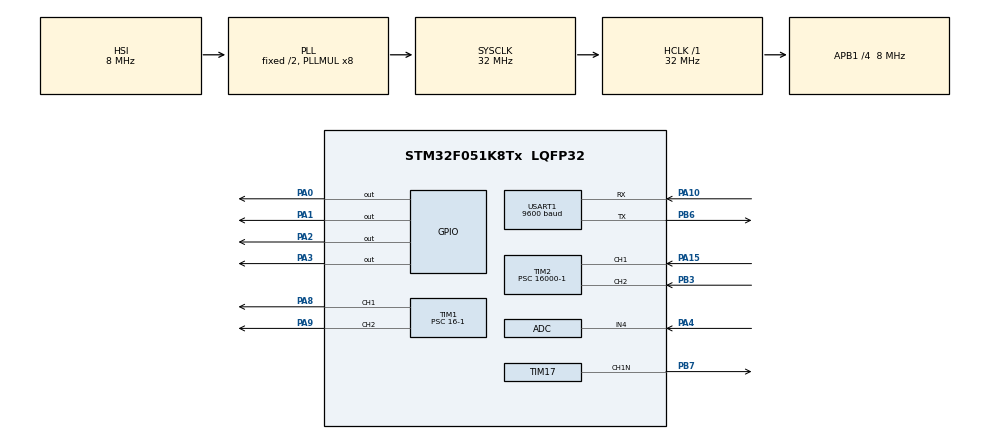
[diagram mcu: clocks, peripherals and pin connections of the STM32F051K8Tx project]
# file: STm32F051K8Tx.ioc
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ADC.ClockPrescaler=ADC_CLOCK_ASYNC_DIV1
Dma.Request0=USART1_RX
Dma.USART1_RX.0.Direction=DMA_PERIPH_TO_MEMORY
Dma.USART1_RX.0.Instance=DMA1_Channel3
Dma.USART1_RX.0.MemDataAlignment=DMA_MDATAALIGN_BYTE
Dma.USART1_RX.0.MemInc=DMA_MINC_ENABLE
Dma.USART1_RX.0.Mode=DMA_NORMAL
Dma.USART1_RX.0.PeriphDataAlignment=DMA_PDATAALIGN_BYTE
Dma.USART1_RX.0.PeriphInc=DMA_PINC_DISABLE
Dma.USART1_RX.0.Priority=DMA_PRIORITY_MEDIUM
Mcu.Family=STM32F0
Mcu.Name=STM32F051K8Tx
Mcu.Package=LQFP32
NVIC.DMA1_Channel2_3_IRQn=true\:0\:0\:false\:false\:true\:false\:true\:true
NVIC.TIM15_IRQn=true\:0\:0\:false\:false\:true\:true\:true\:true
NVIC.TIM16_IRQn=true\:0\:0\:false\:false\:true\:true\:true\:true
NVIC.TIM2_IRQn=true\:0\:0\:false\:false\:true\:true\:true\:true
PA0.Signal=GPIO_Output
PA1.Signal=GPIO_Output
PA10.Mode=Asynchronous
PA10.Signal=USART1_RX
PA15.Signal=S_TIM2_CH1_ETR
PA2.Signal=GPIO_Output
PA3.Signal=GPIO_Output
PA4.Mode=IN4
PA4.Signal=ADC_IN4
PA8.Signal=S_TIM1_CH1
PA9.Signal=S_TIM1_CH2
PB3.Signal=S_TIM2_CH2
PB6.Mode=Asynchronous
PB6.Signal=USART1_TX
PB7.Mode=PWM Generation1 CH1N
PB7.Signal=TIM17_CH1N
ProjectManager.HeapSize=0x200
ProjectManager.StackSize=0x400
ProjectManager.TargetToolchain=STM32CubeIDE
RCC.AHBFreq_Value=32000000
RCC.APB1CLKDivider=RCC_HCLK_DIV4
RCC.APB1Freq_Value=8000000
RCC.APB1TimFreq_Value=16000000
RCC.HCLKFreq_Value=32000000
RCC.PLLMUL=RCC_PLL_MUL8
RCC.SYSCLKFreq_VALUE=32000000
RCC.SYSCLKSource=RCC_SYSCLKSOURCE_PLLCLK
SH.S_TIM1_CH1.0=TIM1_CH1,PWM Generation1 CH1
SH.S_TIM1_CH2.0=TIM1_CH2,PWM Generation2 CH2
SH.S_TIM2_CH1_ETR.0=TIM2_CH1,Input_Capture1_from_TI1
SH.S_TIM2_CH2.0=TIM2_CH2,Input_Capture2_from_TI2
TIM1.AutoReloadPreload=TIM_AUTORELOAD_PRELOAD_DISABLE
TIM1.Channel-PWM\ Generation1\ CH1=TIM_CHANNEL_1
TIM1.Channel-PWM\ Generation2\ CH2=TIM_CHANNEL_2
TIM1.Period=20000-1
TIM1.Prescaler=16-1
TIM1.Pulse-PWM\ Generation1\ CH1=4000-1
TIM1.Pulse-PWM\ Generation2\ CH2=4000-1
TIM15.Period=200
TIM15.Prescaler=16000-1
TIM16.Period=3000
TIM16.Prescaler=16000-1
TIM17.Channel=TIM_CHANNEL_1
TIM17.Period=300
TIM17.Prescaler=16000-1
TIM17.Pulse=150
TIM2.Channel-Input_Capture1_from_TI1=TIM_CHANNEL_1
TIM2.Channel-Input_Capture2_from_TI2=TIM_CHANNEL_2
TIM2.Period=0xFFFFFFFF
TIM2.Prescaler=16000-1
USART1.BaudRate=9600
USART1.Mode=MODE_RX
USART1.OverSampling=UART_OVERSAMPLING_8
USART1.VirtualMode-Asynchronous=VM_ASYNC
VP_TIM15_VS_ClockSourceINT.Mode=Internal
VP_TIM16_VS_ClockSourceINT.Mode=Enable_Timer
VP_TIM17_VS_ClockSourceINT.Mode=Enable_Timer
VP_TIM1_VS_ClockSourceINT.Mode=Internal
VP_TIM2_VS_ClockSourceINT.Mode=Internal
board=custom

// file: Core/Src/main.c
/* USER CODE BEGIN Header */
/**
  ******************************************************************************
  * @file           : main.c
  * @brief          : Main program body
  ******************************************************************************
  * @attention
  *
  * Copyright (c) 2023 STMicroelectronics.
  * All rights reserved.
  *
  * This software is licensed under terms that can be found in the LICENSE file
  * in the root directory of this software component.
  * If no LICENSE file comes with this software, it is provided AS-IS.
  *
  ******************************************************************************
  */
/* USER CODE END Header */
#include "main.h"

/* USER CODE BEGIN Includes */
#include "user_functions.h"
/* USER CODE END Includes */

ADC_HandleTypeDef hadc;

TIM_HandleTypeDef htim1;
TIM_HandleTypeDef htim2;
TIM_HandleTypeDef htim15;
TIM_HandleTypeDef htim16;
TIM_HandleTypeDef htim17;

UART_HandleTypeDef huart1;
DMA_HandleTypeDef hdma_usart1_rx;

/* USER CODE BEGIN PV */
uint32_t BAT = 0;

Wheel wheel_1 = {0,0,0};
Wheel wheel_2 = {0,0,0};

uint8_t cmd[3] = {'0','0','0'};

uint8_t FLAG_UART_1 = 0x00;
uint8_t FLAG_TIMEOUT = 0x00;
uint8_t FLAG_BAT = 0x00;
uint8_t FLAG_MEAS_1 = 0x00;
uint8_t FLAG_MEAS_2 = 0x00;

uint8_t MOTOR = 0x00;
uint8_t STATUS = 0x00;
float base = 140.5f;
/* USER CODE END PV */

void SystemClock_Config(void);
static void MX_GPIO_Init(void);
static void MX_DMA_Init(void);
static void MX_TIM1_Init(void);
static void MX_TIM2_Init(void);
static void MX_TIM16_Init(void);
static void MX_TIM15_Init(void);
static void MX_USART1_UART_Init(void);
static void MX_ADC_Init(void);
static void MX_TIM17_Init(void);
/* USER CODE BEGIN PFP */

static uint32_t Status_Check();

/* USER CODE END PFP */

int main(void)
{

  /* MCU Configuration--------------------------------------------------------*/

  /* Reset of all peripherals, Initializes the Flash interface and the Systick. */
  HAL_Init();

  /* Configure the system clock */
  SystemClock_Config();

  /* Initialize all configured peripherals */
  MX_GPIO_Init();
  MX_DMA_Init();
  MX_TIM1_Init();
  MX_TIM2_Init();
  MX_TIM16_Init();
  MX_TIM15_Init();
  MX_USART1_UART_Init();
  MX_ADC_Init();
  MX_TIM17_Init();
  /* USER CODE BEGIN 2 */

  //Intro
  //HAL_Delay(2000);

  // Motor control PWM start
  HAL_TIM_PWM_Start(&htim1, TIM_CHANNEL_1);
  HAL_TIM_PWM_Start(&htim1, TIM_CHANNEL_2);

  // UART receive start
  HAL_UART_Receive_DMA(&huart1, cmd, 3);

  // BAT Measure timer start
  HAL_TIM_Base_Start_IT(&htim16);

  /* USER CODE END 2 */

  /* Infinite loop */
  /* USER CODE BEGIN WHILE */
  while (1)
  {
	  STATUS = Status_Check();

	  switch (STATUS)
	  {
	  	  case 0:
	  		  // Not going and not needed
	  		  break;

		  case 1:
			  // Not going but needed
			  if(FLAG_TIMEOUT)
			  {
				  HAL_TIM_Base_Stop_IT(&htim15);
				  htim15.Instance->CNT = 0x0;
			  }

			  MOTOR = Motor_Set(cmd[1]);

			  if (MOTOR == 1)
			  {
				  HAL_TIM_IC_Start_IT(&htim2, TIM_CHANNEL_1);
				  HAL_TIM_IC_Start_IT(&htim2, TIM_CHANNEL_2);
				  HAL_TIM_Base_Start_IT(&htim15);
			  }

			  FLAG_UART_1 = 0x00;
			  HAL_UART_Receive_DMA(&huart1, cmd, 3);

			  if(FLAG_TIMEOUT)
			  {
				  FLAG_TIMEOUT= 0x00;
				  HAL_TIM_Base_Start_IT(&htim15);
			  }

			  break;

		  case 2:
			  // Going and needed
			  if (FLAG_UART_1)
			  {
				  HAL_TIM_Base_Stop_IT(&htim15);
				  htim15.Instance->CNT = 0x0;

				  MOTOR = Motor_Set(cmd[1]);

				  // We want to receive the next command
				  FLAG_UART_1 = 0x00;
				  HAL_UART_Receive_DMA(&huart1, cmd, 3);

				  // And let us start timeouter again
				  FLAG_TIMEOUT = 0x00;
				  HAL_TIM_Base_Start_IT(&htim15);
			  }

			  wheel_1.RPM = Speed_Calc(&wheel_1);
			  wheel_2.RPM = Speed_Calc(&wheel_2);

			  Speed_Control(&htim1, base, &wheel_1, &wheel_2);

			  break;

		  case 3:
			  // Going but not needed (or any error case)

			  MOTOR = Motor_Set('5');
			  Speed_Control(&htim1, 0, &wheel_1, &wheel_2);
			  HAL_TIM_IC_Stop_IT(&htim2, TIM_CHANNEL_1);
			  HAL_TIM_IC_Stop_IT(&htim2, TIM_CHANNEL_2);
			  HAL_TIM_Base_Stop_IT(&htim15);

			  htim2.Instance->CNT = 0x0;
			  htim15.Instance->CNT = 0x0;

			  wheel_1.RPM = 0;
			  wheel_2.RPM = 0;

			  cmd[0]='0';
			  cmd[1]='0';
			  cmd[2]='0';

			  FLAG_MEAS_2 = 0x00;
			  wheel_1.IC_Val_1 = 0;
			  wheel_1.IC_Val_0 = 0;

			  FLAG_MEAS_1 = 0x00;
			  wheel_2.IC_Val_1 = 0;
			  wheel_2.IC_Val_0 = 0;

			  FLAG_TIMEOUT = 0x00;

			  if(FLAG_UART_1)
			  {
				  FLAG_UART_1 = 0x00;
			  	  HAL_UART_Receive_DMA(&huart1, cmd, 3);
			  }
			  break;
	  }

	  if (FLAG_BAT)
	  {
		  HAL_TIM_Base_Stop_IT(&htim16);
		  htim16.Instance->CNT = 0x0;

		  BAT = Battery_Meas(&hadc);

		  if (BAT < 60)
			  HAL_TIMEx_PWMN_Start(&htim17, TIM_CHANNEL_1);
		  else HAL_TIMEx_PWMN_Stop(&htim17, TIM_CHANNEL_1);

		  FLAG_BAT = 0x00;
		  HAL_TIM_Base_Start_IT(&htim16);
	  }
    /* USER CODE END WHILE */

  }
}

void SystemClock_Config(void)
{
  RCC_OscInitTypeDef RCC_OscInitStruct = {0};
  RCC_ClkInitTypeDef RCC_ClkInitStruct = {0};
  RCC_PeriphCLKInitTypeDef PeriphClkInit = {0};

  /** Initializes the RCC Oscillators according to the specified parameters
  * in the RCC_OscInitTypeDef structure.
  */
  RCC_OscInitStruct.OscillatorType = RCC_OSCILLATORTYPE_HSI|RCC_OSCILLATORTYPE_HSI14;
  RCC_OscInitStruct.HSIState = RCC_HSI_ON;
  RCC_OscInitStruct.HSI14State = RCC_HSI14_ON;
  RCC_OscInitStruct.HSICalibrationValue = RCC_HSICALIBRATION_DEFAULT;
  RCC_OscInitStruct.HSI14CalibrationValue = 16;
  RCC_OscInitStruct.PLL.PLLState = RCC_PLL_ON;
  RCC_OscInitStruct.PLL.PLLSource = RCC_PLLSOURCE_HSI;
  RCC_OscInitStruct.PLL.PLLMUL = RCC_PLL_MUL8;
  RCC_OscInitStruct.PLL.PREDIV = RCC_PREDIV_DIV1;
  if (HAL_RCC_OscConfig(&RCC_OscInitStruct) != HAL_OK)
  {
    Error_Handler();
  }

  /** Initializes the CPU, AHB and APB buses clocks
  */
  RCC_ClkInitStruct.ClockType = RCC_CLOCKTYPE_HCLK|RCC_CLOCKTYPE_SYSCLK
                              |RCC_CLOCKTYPE_PCLK1;
  RCC_ClkInitStruct.SYSCLKSource = RCC_SYSCLKSOURCE_PLLCLK;
  RCC_ClkInitStruct.AHBCLKDivider = RCC_SYSCLK_DIV1;
  RCC_ClkInitStruct.APB1CLKDivider = RCC_HCLK_DIV4;

  if (HAL_RCC_ClockConfig(&RCC_ClkInitStruct, FLASH_LATENCY_1) != HAL_OK)
  {
    Error_Handler();
  }
  PeriphClkInit.PeriphClockSelection = RCC_PERIPHCLK_USART1;
  PeriphClkInit.Usart1ClockSelection = RCC_USART1CLKSOURCE_PCLK1;
  if (HAL_RCCEx_PeriphCLKConfig(&PeriphClkInit) != HAL_OK)
  {
    Error_Handler();
  }
}

static void MX_ADC_Init(void)
{

  ADC_ChannelConfTypeDef sConfig = {0};

  /** Configure the global features of the ADC (Clock, Resolution, Data Alignment and number of conversion)
  */
  hadc.Instance = ADC1;
  hadc.Init.ClockPrescaler = ADC_CLOCK_ASYNC_DIV1;
  hadc.Init.Resolution = ADC_RESOLUTION_12B;
  hadc.Init.DataAlign = ADC_DATAALIGN_RIGHT;
  hadc.Init.ScanConvMode = ADC_SCAN_DIRECTION_FORWARD;
  hadc.Init.EOCSelection = ADC_EOC_SINGLE_CONV;
  hadc.Init.LowPowerAutoWait = DISABLE;
  hadc.Init.LowPowerAutoPowerOff = DISABLE;
  hadc.Init.ContinuousConvMode = DISABLE;
  hadc.Init.DiscontinuousConvMode = DISABLE;
  hadc.Init.ExternalTrigConv = ADC_SOFTWARE_START;
  hadc.Init.ExternalTrigConvEdge = ADC_EXTERNALTRIGCONVEDGE_NONE;
  hadc.Init.DMAContinuousRequests = DISABLE;
  hadc.Init.Overrun = ADC_OVR_DATA_PRESERVED;
  if (HAL_ADC_Init(&hadc) != HAL_OK)
  {
    Error_Handler();
  }

  /** Configure for the selected ADC regular channel to be converted.
  */
  sConfig.Channel = ADC_CHANNEL_4;
  sConfig.Rank = ADC_RANK_CHANNEL_NUMBER;
  sConfig.SamplingTime = ADC_SAMPLETIME_1CYCLE_5;
  if (HAL_ADC_ConfigChannel(&hadc, &sConfig) != HAL_OK)
  {
    Error_Handler();
  }

}

static void MX_TIM1_Init(void)
{

  TIM_ClockConfigTypeDef sClockSourceConfig = {0};
  TIM_MasterConfigTypeDef sMasterConfig = {0};
  TIM_OC_InitTypeDef sConfigOC = {0};
  TIM_BreakDeadTimeConfigTypeDef sBreakDeadTimeConfig = {0};

  htim1.Instance = TIM1;
  htim1.Init.Prescaler = 16-1;
  htim1.Init.CounterMode = TIM_COUNTERMODE_UP;
  htim1.Init.Period = 20000-1;
  htim1.Init.ClockDivision = TIM_CLOCKDIVISION_DIV1;
  htim1.Init.RepetitionCounter = 0;
  htim1.Init.AutoReloadPreload = TIM_AUTORELOAD_PRELOAD_DISABLE;
  if (HAL_TIM_Base_Init(&htim1) != HAL_OK)
  {
    Error_Handler();
  }
  sClockSourceConfig.ClockSource = TIM_CLOCKSOURCE_INTERNAL;
  if (HAL_TIM_ConfigClockSource(&htim1, &sClockSourceConfig) != HAL_OK)
  {
    Error_Handler();
  }
  if (HAL_TIM_PWM_Init(&htim1) != HAL_OK)
  {
    Error_Handler();
  }
  sMasterConfig.MasterOutputTrigger = TIM_TRGO_RESET;
  sMasterConfig.MasterSlaveMode = TIM_MASTERSLAVEMODE_DISABLE;
  if (HAL_TIMEx_MasterConfigSynchronization(&htim1, &sMasterConfig) != HAL_OK)
  {
    Error_Handler();
  }
  sConfigOC.OCMode = TIM_OCMODE_PWM1;
  sConfigOC.Pulse = 4000-1;
  sConfigOC.OCPolarity = TIM_OCPOLARITY_HIGH;
  sConfigOC.OCNPolarity = TIM_OCNPOLARITY_HIGH;
  sConfigOC.OCFastMode = TIM_OCFAST_DISABLE;
  sConfigOC.OCIdleState = TIM_OCIDLESTATE_RESET;
  sConfigOC.OCNIdleState = TIM_OCNIDLESTATE_RESET;
  if (HAL_TIM_PWM_ConfigChannel(&htim1, &sConfigOC, TIM_CHANNEL_1) != HAL_OK)
  {
    Error_Handler();
  }
  if (HAL_TIM_PWM_ConfigChannel(&htim1, &sConfigOC, TIM_CHANNEL_2) != HAL_OK)
  {
    Error_Handler();
  }
  sBreakDeadTimeConfig.OffStateRunMode = TIM_OSSR_DISABLE;
  sBreakDeadTimeConfig.OffStateIDLEMode = TIM_OSSI_DISABLE;
  sBreakDeadTimeConfig.LockLevel = TIM_LOCKLEVEL_OFF;
  sBreakDeadTimeConfig.DeadTime = 0;
  sBreakDeadTimeConfig.BreakState = TIM_BREAK_DISABLE;
  sBreakDeadTimeConfig.BreakPolarity = TIM_BREAKPOLARITY_HIGH;
  sBreakDeadTimeConfig.AutomaticOutput = TIM_AUTOMATICOUTPUT_DISABLE;
  if (HAL_TIMEx_ConfigBreakDeadTime(&htim1, &sBreakDeadTimeConfig) != HAL_OK)
  {
    Error_Handler();
  }
  HAL_TIM_MspPostInit(&htim1);

}

static void MX_TIM2_Init(void)
{

  TIM_ClockConfigTypeDef sClockSourceConfig = {0};
  TIM_MasterConfigTypeDef sMasterConfig = {0};
  TIM_IC_InitTypeDef sConfigIC = {0};

  htim2.Instance = TIM2;
  htim2.Init.Prescaler = 16000-1;
  htim2.Init.CounterMode = TIM_COUNTERMODE_UP;
  htim2.Init.Period = 0xFFFFFFFF;
  htim2.Init.ClockDivision = TIM_CLOCKDIVISION_DIV1;
  htim2.Init.AutoReloadPreload = TIM_AUTORELOAD_PRELOAD_DISABLE;
  if (HAL_TIM_Base_Init(&htim2) != HAL_OK)
  {
    Error_Handler();
  }
  sClockSourceConfig.ClockSource = TIM_CLOCKSOURCE_INTERNAL;
  if (HAL_TIM_ConfigClockSource(&htim2, &sClockSourceConfig) != HAL_OK)
  {
    Error_Handler();
  }
  if (HAL_TIM_IC_Init(&htim2) != HAL_OK)
  {
    Error_Handler();
  }
  sMasterConfig.MasterOutputTrigger = TIM_TRGO_RESET;
  sMasterConfig.MasterSlaveMode = TIM_MASTERSLAVEMODE_DISABLE;
  if (HAL_TIMEx_MasterConfigSynchronization(&htim2, &sMasterConfig) != HAL_OK)
  {
    Error_Handler();
  }
  sConfigIC.ICPolarity = TIM_INPUTCHANNELPOLARITY_RISING;
  sConfigIC.ICSelection = TIM_ICSELECTION_DIRECTTI;
  sConfigIC.ICPrescaler = TIM_ICPSC_DIV1;
  sConfigIC.ICFilter = 0;
  if (HAL_TIM_IC_ConfigChannel(&htim2, &sConfigIC, TIM_CHANNEL_1) != HAL_OK)
  {
    Error_Handler();
  }
  if (HAL_TIM_IC_ConfigChannel(&htim2, &sConfigIC, TIM_CHANNEL_2) != HAL_OK)
  {
    Error_Handler();
  }

}

static void MX_TIM15_Init(void)
{

  TIM_ClockConfigTypeDef sClockSourceConfig = {0};
  TIM_MasterConfigTypeDef sMasterConfig = {0};

  htim15.Instance = TIM15;
  htim15.Init.Prescaler = 16000-1;
  htim15.Init.CounterMode = TIM_COUNTERMODE_UP;
  htim15.Init.Period = 200;
  htim15.Init.ClockDivision = TIM_CLOCKDIVISION_DIV1;
  htim15.Init.RepetitionCounter = 0;
  htim15.Init.AutoReloadPreload = TIM_AUTORELOAD_PRELOAD_DISABLE;
  if (HAL_TIM_Base_Init(&htim15) != HAL_OK)
  {
    Error_Handler();
  }
  sClockSourceConfig.ClockSource = TIM_CLOCKSOURCE_INTERNAL;
  if (HAL_TIM_ConfigClockSource(&htim15, &sClockSourceConfig) != HAL_OK)
  {
    Error_Handler();
  }
  sMasterConfig.MasterOutputTrigger = TIM_TRGO_RESET;
  sMasterConfig.MasterSlaveMode = TIM_MASTERSLAVEMODE_DISABLE;
  if (HAL_TIMEx_MasterConfigSynchronization(&htim15, &sMasterConfig) != HAL_OK)
  {
    Error_Handler();
  }

}

static void MX_TIM16_Init(void)
{

  htim16.Instance = TIM16;
  htim16.Init.Prescaler = 16000-1;
  htim16.Init.CounterMode = TIM_COUNTERMODE_UP;
  htim16.Init.Period = 3000;
  htim16.Init.ClockDivision = TIM_CLOCKDIVISION_DIV1;
  htim16.Init.RepetitionCounter = 0;
  htim16.Init.AutoReloadPreload = TIM_AUTORELOAD_PRELOAD_DISABLE;
  if (HAL_TIM_Base_Init(&htim16) != HAL_OK)
  {
    Error_Handler();
  }

}

static void MX_TIM17_Init(void)
{

  TIM_OC_InitTypeDef sConfigOC = {0};
  TIM_BreakDeadTimeConfigTypeDef sBreakDeadTimeConfig = {0};

  htim17.Instance = TIM17;
  htim17.Init.Prescaler = 16000-1;
  htim17.Init.CounterMode = TIM_COUNTERMODE_UP;
  htim17.Init.Period = 300;
  htim17.Init.ClockDivision = TIM_CLOCKDIVISION_DIV1;
  htim17.Init.RepetitionCounter = 0;
  htim17.Init.AutoReloadPreload = TIM_AUTORELOAD_PRELOAD_DISABLE;
  if (HAL_TIM_Base_Init(&htim17) != HAL_OK)
  {
    Error_Handler();
  }
  if (HAL_TIM_PWM_Init(&htim17) != HAL_OK)
  {
    Error_Handler();
  }
  sConfigOC.OCMode = TIM_OCMODE_PWM1;
  sConfigOC.Pulse = 150;
  sConfigOC.OCPolarity = TIM_OCPOLARITY_HIGH;
  sConfigOC.OCNPolarity = TIM_OCNPOLARITY_HIGH;
  sConfigOC.OCFastMode = TIM_OCFAST_DISABLE;
  sConfigOC.OCIdleState = TIM_OCIDLESTATE_RESET;
  sConfigOC.OCNIdleState = TIM_OCNIDLESTATE_RESET;
  if (HAL_TIM_PWM_ConfigChannel(&htim17, &sConfigOC, TIM_CHANNEL_1) != HAL_OK)
  {
    Error_Handler();
  }
  sBreakDeadTimeConfig.OffStateRunMode = TIM_OSSR_DISABLE;
  sBreakDeadTimeConfig.OffStateIDLEMode = TIM_OSSI_DISABLE;
  sBreakDeadTimeConfig.LockLevel = TIM_LOCKLEVEL_OFF;
  sBreakDeadTimeConfig.DeadTime = 0;
  sBreakDeadTimeConfig.BreakState = TIM_BREAK_DISABLE;
  sBreakDeadTimeConfig.BreakPolarity = TIM_BREAKPOLARITY_HIGH;
  sBreakDeadTimeConfig.AutomaticOutput = TIM_AUTOMATICOUTPUT_DISABLE;
  if (HAL_TIMEx_ConfigBreakDeadTime(&htim17, &sBreakDeadTimeConfig) != HAL_OK)
  {
    Error_Handler();
  }
  HAL_TIM_MspPostInit(&htim17);

}

static void MX_USART1_UART_Init(void)
{

  huart1.Instance = USART1;
  huart1.Init.BaudRate = 9600;
  huart1.Init.WordLength = UART_WORDLENGTH_8B;
  huart1.Init.StopBits = UART_STOPBITS_1;
  huart1.Init.Parity = UART_PARITY_NONE;
  huart1.Init.Mode = UART_MODE_RX;
  huart1.Init.HwFlowCtl = UART_HWCONTROL_NONE;
  huart1.Init.OverSampling = UART_OVERSAMPLING_8;
  huart1.Init.OneBitSampling = UART_ONE_BIT_SAMPLE_DISABLE;
  huart1.AdvancedInit.AdvFeatureInit = UART_ADVFEATURE_NO_INIT;
  if (HAL_UART_Init(&huart1) != HAL_OK)
  {
    Error_Handler();
  }

}

static void MX_DMA_Init(void)
{

  /* DMA controller clock enable */
  __HAL_RCC_DMA1_CLK_ENABLE();

  /* DMA interrupt init */
  /* DMA1_Channel2_3_IRQn interrupt configuration */
  HAL_NVIC_SetPriority(DMA1_Channel2_3_IRQn, 0, 0);
  HAL_NVIC_EnableIRQ(DMA1_Channel2_3_IRQn);

}

static void MX_GPIO_Init(void)
{
  GPIO_InitTypeDef GPIO_InitStruct = {0};

  /* GPIO Ports Clock Enable */
  __HAL_RCC_GPIOA_CLK_ENABLE();
  __HAL_RCC_GPIOB_CLK_ENABLE();

  /*Configure GPIO pin Output Level */
  HAL_GPIO_WritePin(GPIOA, GPIO_PIN_0|GPIO_PIN_1|GPIO_PIN_2|GPIO_PIN_3, GPIO_PIN_RESET);

  /*Configure GPIO pins : PA0 PA1 PA2 PA3 */
  GPIO_InitStruct.Pin = GPIO_PIN_0|GPIO_PIN_1|GPIO_PIN_2|GPIO_PIN_3;
  GPIO_InitStruct.Mode = GPIO_MODE_OUTPUT_PP;
  GPIO_InitStruct.Pull = GPIO_NOPULL;
  GPIO_InitStruct.Speed = GPIO_SPEED_FREQ_LOW;
  HAL_GPIO_Init(GPIOA, &GPIO_InitStruct);

}

/* USER CODE BEGIN 4 */

//////////////////////
/////////////////////
////////////////////
///////////////////
//////////////////
/////////////////
////////////////
///////////////
//////////////
/////////////
////////////

static uint32_t Status_Check()
{
	if ((MOTOR == 0) && (FLAG_UART_1 == 0) && (FLAG_TIMEOUT == 0))
		return 0;
	else if ((MOTOR == 0) && (FLAG_UART_1 == 1))
		return 1;
	else if ((MOTOR) && (FLAG_TIMEOUT == 0))
		return 2;
	else return 3;

}

void HAL_TIM_IC_CaptureCallback(TIM_HandleTypeDef *htim)
{
	if(htim->Channel == HAL_TIM_ACTIVE_CHANNEL_1)
	{
		if (FLAG_MEAS_1)
		{
			wheel_1.IC_Val_0 = wheel_1.IC_Val_1;
			wheel_1.IC_Val_1 = HAL_TIM_ReadCapturedValue(htim, TIM_CHANNEL_1);

		}
		else
			{
				wheel_1.IC_Val_0 = HAL_TIM_ReadCapturedValue(htim, TIM_CHANNEL_1);
				FLAG_MEAS_1 = 0x01;
			}
	}

	if(htim->Channel == HAL_TIM_ACTIVE_CHANNEL_2)
	{
		if (FLAG_MEAS_2)
		{
			wheel_2.IC_Val_0 = wheel_2.IC_Val_1;
			wheel_2.IC_Val_1 = HAL_TIM_ReadCapturedValue(htim, TIM_CHANNEL_2);
		}
		else
			{
				wheel_2.IC_Val_0 = HAL_TIM_ReadCapturedValue(htim, TIM_CHANNEL_2);
				FLAG_MEAS_2 = 0x01;
			}
	}
}

void HAL_TIM_PeriodElapsedCallback(TIM_HandleTypeDef *htim)
{
	/* Set flag */
	if (htim->Instance == TIM15)
		FLAG_TIMEOUT = 0x01;

	if (htim->Instance == TIM16)
		FLAG_BAT = 0x01;
}

void HAL_UART_RxCpltCallback(UART_HandleTypeDef *huart)
{
	/* Set flag */
	FLAG_UART_1 = 0x01;
}

////////////
/////////////
//////////////
///////////////
////////////////
/////////////////
//////////////////
///////////////////
////////////////////
/////////////////////
//////////////////////

/* USER CODE END 4 */

void Error_Handler(void)
{
  __disable_irq();
  while (1)
  {
  }
}
